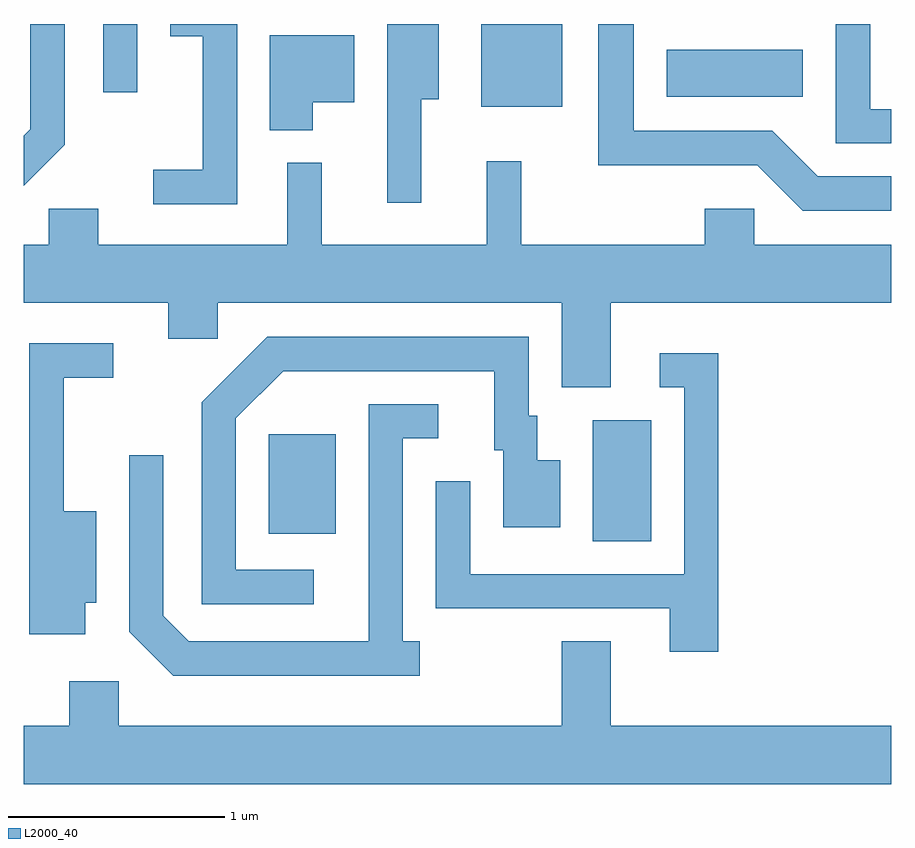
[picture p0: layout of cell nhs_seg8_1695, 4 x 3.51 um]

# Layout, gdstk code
import gdstk
lib = gdstk.Library(unit=1e-6, precision=1e-09)
def R(c, l, rs):  # rectangles x0, y0, x1, y1
    for r in rs: c.add(gdstk.rectangle(r[:2], r[2:], *l))
def P(c, l, *ps):  # polygons
    for p in ps: c.add(gdstk.Polygon(p, *l))
L2000_40 = (2000, 40)

nhs_seg8_1695 = lib.new_cell('nhs_seg8_1695')
R(nhs_seg8_1695, L2000_40, [(238.236,1861.956,238.504,1862.514), (236.741,1861.991,237.049,1862.449), (237.721,1863.961,238.094,1864.342), (238.576,1864.006,239.204,1864.224), (235.976,1864.028,236.134,1864.342)])
P(nhs_seg8_1695, L2000_40, [(239.611,1863.639),(239.272,1863.639),(239.062,1863.849),(238.424,1863.849),(238.424,1864.342),(238.261,1864.342),(238.261,1863.691),(238.994,1863.691),(239.204,1863.481),(239.611,1863.481)],
  [(236.594,1864.342),(236.286,1864.342),(236.286,1864.286),(236.436,1864.286),(236.436,1863.669),(236.208,1863.669),(236.208,1863.511),(236.594,1863.511)],
  [(237.444,1863.996),(237.524,1863.996),(237.524,1864.342),(237.286,1864.342),(237.286,1863.518),(237.444,1863.518)],
  [(235.799,1863.784),(235.799,1864.342),(235.641,1864.342),(235.641,1863.857),(235.611,1863.827),(235.611,1863.595)],
  [(239.611,1863.949),(239.514,1863.949),(239.514,1864.342),(239.356,1864.342),(239.356,1863.791),(239.611,1863.791)],
  [(236.944,1863.981),(237.134,1863.981),(237.134,1864.289),(236.746,1864.289),(236.746,1863.851),(236.944,1863.851)],
  [(238.319,1863.056),(239.611,1863.056),(239.611,1863.324),(238.979,1863.324),(238.979,1863.489),(238.751,1863.489),(238.751,1863.324),(237.904,1863.324),(237.904,1863.708),(237.746,1863.708),(237.746,1863.324),(236.984,1863.324),(236.984,1863.703),(236.826,1863.703),(236.826,1863.324),(235.954,1863.324),(235.954,1863.489),(235.726,1863.489),(235.726,1863.324),(235.611,1863.324),(235.611,1863.056),(236.276,1863.056),(236.276,1862.891),(236.504,1862.891),(236.504,1863.056),(238.091,1863.056),(238.091,1862.666),(238.319,1862.666)],
  [(236.948,1861.824),(236.589,1861.824),(236.589,1862.524),(236.807,1862.741),(237.781,1862.741),(237.781,1862.376),(237.821,1862.376),(237.821,1862.021),(238.084,1862.021),(238.084,1862.329),(237.979,1862.329),(237.979,1862.534),(237.939,1862.534),(237.939,1862.899),(236.734,1862.899),(236.431,1862.597),(236.431,1861.666),(236.948,1861.666)],
  [(235.894,1861.671),(235.944,1861.671),(235.944,1862.094),(235.794,1862.094),(235.794,1862.711),(236.023,1862.711),(236.023,1862.869),(235.636,1862.869),(235.636,1861.526),(235.894,1861.526)],
  [(238.814,1862.824),(238.543,1862.824),(238.543,1862.666),(238.656,1862.666),(238.656,1861.804),(237.669,1861.804),(237.669,1862.233),(237.511,1862.233),(237.511,1861.646),(238.591,1861.646),(238.591,1861.446),(238.814,1861.446)],
  [(237.438,1861.494),(237.359,1861.494),(237.359,1862.431),(237.523,1862.431),(237.523,1862.589),(237.201,1862.589),(237.201,1861.494),(236.372,1861.494),(236.254,1861.612),(236.254,1862.353),(236.096,1862.353),(236.096,1861.539),(236.299,1861.336),(237.438,1861.336)],
  [(239.611,1861.104),(238.319,1861.104),(238.319,1861.494),(238.091,1861.494),(238.091,1861.104),(236.049,1861.104),(236.049,1861.309),(235.821,1861.309),(235.821,1861.104),(235.611,1861.104),(235.611,1860.836),(239.611,1860.836)])

lib.write_gds('nhs_seg8_1695.gds')
